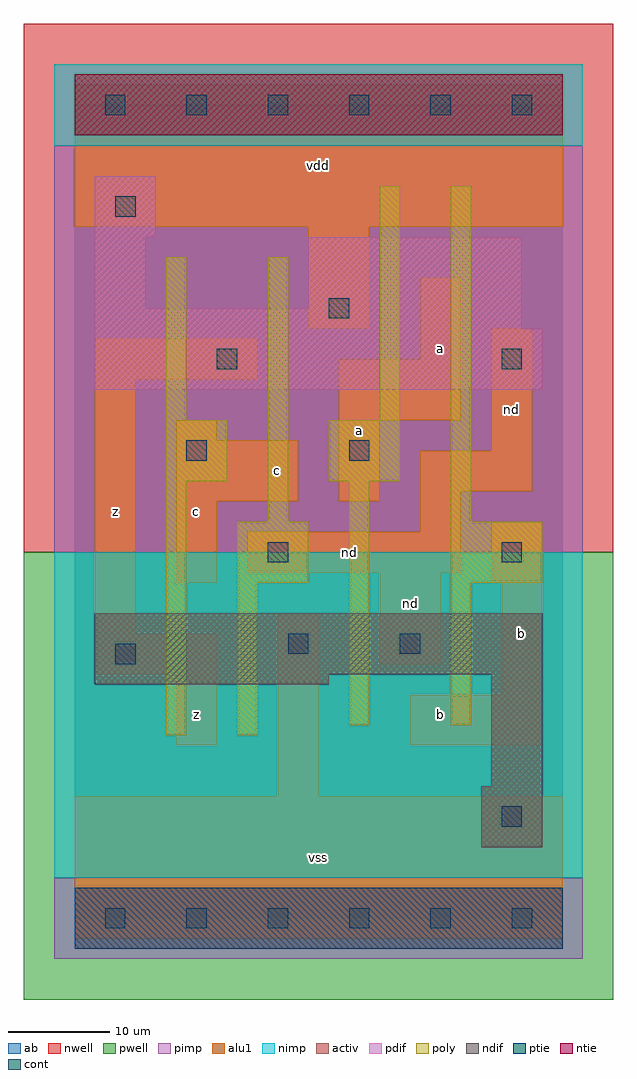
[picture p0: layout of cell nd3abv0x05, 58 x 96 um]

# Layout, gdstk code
import gdstk
lib = gdstk.Library(unit=1e-6, precision=1e-09)
def R(c, l, rs):  # rectangles x0, y0, x1, y1
    for r in rs: c.add(gdstk.rectangle(r[:2], r[2:], *l))
def A(c, l, x, y, w, h, nx, ny, dx, dy):  # array of equal rectangles
    R(c, l, [(x+i*dx, y+j*dy, x+i*dx+w, y+j*dy+h) for i in range(nx) for j in range(ny)])
ndif = (3, 0)
pdif = (4, 0)
ntie = (5, 0)
ptie = (6, 0)
cont = (25, 0)
pwell = (41, 0)
nwell = (42, 0)
activ = (43, 0)
pimp = (44, 0)
nimp = (45, 0)
poly = (46, 0)
alu1 = (49, 0)
ab = (63, 0)

nd3abv0x05 = lib.new_cell('nd3abv0x05')
R(nd3abv0x05, ndif, [(40,7,46,13), (41,13,46,24), (2,23,25,24), (2,24,46,30)])
R(nd3abv0x05, pdif, [(2,52,46,58), (2,58,44,60), (2,60,7,67), (23,60,44,67), (2,67,8,73)])
R(nd3abv0x05, ntie, [(0,77,48,83)])
R(nd3abv0x05, ptie, [(0,-3,48,3)])
A(nd3abv0x05, cont, 3, -1, 2, 2, 6, 2, 8, 80)
R(nd3abv0x05, cont, [(42,9,44,11), (4,25,6,27), (21,26,23,28), (32,26,34,28), (19,35,21,37), (42,35,44,37), (11,45,13,47), (27,45,29,47), (14,54,16,56), (42,54,44,56), (25,59,27,61), (4,69,6,71)])
R(nd3abv0x05, pwell, [(-5,-8,53,36)])
R(nd3abv0x05, nwell, [(-5,36,53,88)])
R(nd3abv0x05, activ, [(0,-3,48,3), (40,7,46,13), (41,13,46,24), (2,23,25,24), (2,24,46,30), (2,52,46,58), (2,58,44,60), (2,60,7,67), (23,60,44,67), (2,67,8,73), (0,77,48,83)])
R(nd3abv0x05, pimp, [(-2,-4,50,4), (-2,36,50,76)])
R(nd3abv0x05, nimp, [(-2,4,50,36), (-2,76,50,84)])
R(nd3abv0x05, poly, [(9,18,11,43), (16,18,18,33), (27,19,29,43), (37,19,39,33), (16,33,23,39), (37,33,46,39), (19,39,21,65), (37,39,39,72), (9,43,15,49), (25,43,32,49), (9,49,11,65), (30,49,32,72)])
R(nd3abv0x05, alu1, [(0,-2,48,12), (20,12,24,30), (10,17,14,24), (33,17,46,22), (42,22,46,33), (2,24,14,28), (30,25,36,34), (2,28,6,53), (10,33,14,41), (41,33,46,39), (17,34,38,38), (34,38,38,42), (10,41,22,47), (26,41,30,49), (34,42,45,46), (41,46,45,58), (10,47,14,49), (26,49,38,55), (2,53,18,57), (34,55,38,63), (23,58,29,68), (0,68,48,82)])
R(nd3abv0x05, ab, [(0,0,48,80)])
nd3abv0x05.add(gdstk.Label('nd', (33,31), layer=49, texttype=0))
nd3abv0x05.add(gdstk.Label('nd', (27,36), layer=49, texttype=0))
nd3abv0x05.add(gdstk.Label('nd', (43,50), layer=49, texttype=0))
nd3abv0x05.add(gdstk.Label('z', (4,40), layer=49, texttype=0))
nd3abv0x05.add(gdstk.Label('z', (12,20), layer=49, texttype=0))
nd3abv0x05.add(gdstk.Label('c', (20,44), layer=49, texttype=0))
nd3abv0x05.add(gdstk.Label('c', (12,40), layer=49, texttype=0))
nd3abv0x05.add(gdstk.Label('vss', (24,6), layer=49, texttype=0))
nd3abv0x05.add(gdstk.Label('a', (28,48), layer=49, texttype=0))
nd3abv0x05.add(gdstk.Label('vdd', (24,74), layer=49, texttype=0))
nd3abv0x05.add(gdstk.Label('b', (36,20), layer=49, texttype=0))
nd3abv0x05.add(gdstk.Label('b', (44,28), layer=49, texttype=0))
nd3abv0x05.add(gdstk.Label('a', (36,56), layer=49, texttype=0))

lib.write_gds('nd3abv0x05.gds')
